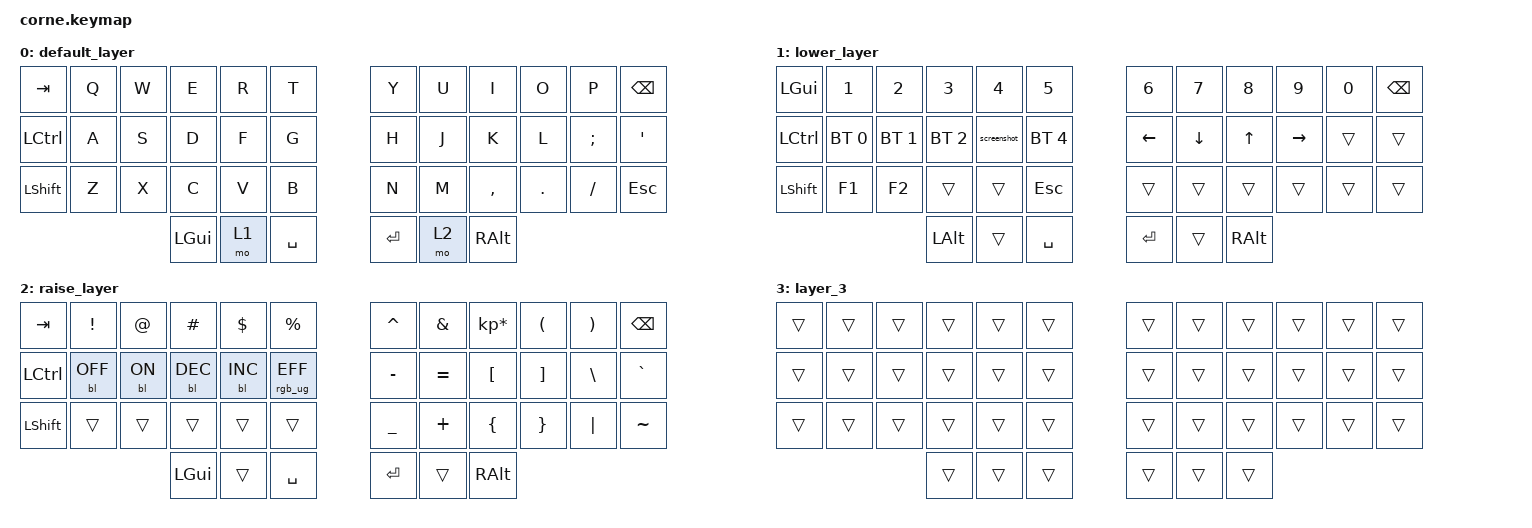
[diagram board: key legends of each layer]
/*
 * Copyright (c) 2020 The ZMK Contributors
 *
 * SPDX-License-Identifier: MIT
 */

#include <behaviors.dtsi>
#include <dt-bindings/zmk/backlight.h>
#include <dt-bindings/zmk/bt.h>
#include <dt-bindings/zmk/keys.h>
#include <dt-bindings/zmk/rgb.h>

/ {
    macros {
        screenshot: screenshot {
            compatible = "zmk,behavior-macro";
            #binding-cells = <0>;
            bindings = <&kp LS(LG(NUMBER_4))>;
            label = "SCREENSHOT";
        };
    };

    keymap {
        compatible = "zmk,keymap";

        default_layer {
            // -----------------------------------------------------------------------------------------
            // |  TAB |  Q  |  W  |  E  |  R  |  T  |   |  Y  |  U   |  I  |  O  |  P  | BKSP |
            // | CTRL |  A  |  S  |  D  |  F  |  G  |   |  H  |  J   |  K  |  L  |  ;  |  '   |
            // | SHFT |  Z  |  X  |  C  |  V  |  B  |   |  N  |  M   |  ,  |  .  |  /  | ESC  |
            //                    | GUI | LWR | SPC |   | ENT | RSE  | ALT |

            bindings = <
&kp TAB    &kp Q  &kp W  &kp E     &kp R  &kp T        &kp Y    &kp U  &kp I      &kp O    &kp P     &kp BSPC
&kp LCTRL  &kp A  &kp S  &kp D     &kp F  &kp G        &kp H    &kp J  &kp K      &kp L    &kp SEMI  &kp SQT
&kp LSHFT  &kp Z  &kp X  &kp C     &kp V  &kp B        &kp N    &kp M  &kp COMMA  &kp DOT  &kp FSLH  &kp ESC
                         &kp LGUI  &mo 1  &kp SPACE    &kp RET  &mo 2  &kp RALT
            >;
        };

        lower_layer {
            // -----------------------------------------------------------------------------------------
            // |  TAB |  1  |  2  |  3  |  4  |  5  |   |  6  |  7  |  8  |  9  |  0  | BKSP |
            // | BTCLR| BT1 | BT2 | BT3 | BT4 | BT5 |   | LFT | DWN |  UP | RGT |     |      |
            // | SHFT |     |     |     |     |     |   |     |     |     |     |     |      |
            //                    | GUI |     | SPC |   | ENT |     | ALT |

            bindings = <
&kp LGUI   &kp N1        &kp N2        &kp N3        &kp N4       &kp N5          &kp N6    &kp N7    &kp N8    &kp N9     &kp N0  &kp BSPC
&kp LCTRL  &bt BT_SEL 0  &bt BT_SEL 1  &bt BT_SEL 2  &screenshot  &bt BT_SEL 4    &kp LEFT  &kp DOWN  &kp UP    &kp RIGHT  &trans  &trans
&kp LSHFT  &kp F1        &kp F2        &trans        &trans       &kp ESC         &trans    &trans    &trans    &trans     &trans  &trans
                                       &kp LALT      &trans       &kp SPACE       &kp RET   &trans    &kp RALT
            >;
        };

        raise_layer {
            // -----------------------------------------------------------------------------------------
            // |  TAB |  !  |  @  |  #  |  $  |  %  |   |  ^  |  &  |  *  |  (  |  )  | BKSP |
            // | CTRL |     |     |     |     |     |   |  -  |  =  |  [  |  ]  |  \  |  `   |
            // | SHFT |     |     |     |     |     |   |  _  |  +  |  {  |  }  | "|" |  ~   |
            //                    | GUI |     | SPC |   | ENT |     | ALT |

            bindings = <
&kp TAB    &kp EXCL    &kp AT     &kp HASH    &kp DLLR    &kp PRCNT          &kp CARET  &kp AMPS   &kp KP_MULTIPLY  &kp LPAR  &kp RPAR  &kp BSPC
&kp LCTRL  &bl BL_OFF  &bl BL_ON  &bl BL_DEC  &bl BL_INC  &rgb_ug RGB_EFF    &kp MINUS  &kp EQUAL  &kp LBKT         &kp RBKT  &kp BSLH  &kp GRAVE
&kp LSHFT  &trans      &trans     &trans      &trans      &trans             &kp UNDER  &kp PLUS   &kp LBRC         &kp RBRC  &kp PIPE  &kp TILDE
                                  &kp LGUI    &trans      &kp SPACE          &kp RET    &trans     &kp RALT
            >;
        };

        layer_3 {
            bindings = <
&trans  &trans  &trans  &trans  &trans  &trans    &trans  &trans  &trans  &trans  &trans  &trans
&trans  &trans  &trans  &trans  &trans  &trans    &trans  &trans  &trans  &trans  &trans  &trans
&trans  &trans  &trans  &trans  &trans  &trans    &trans  &trans  &trans  &trans  &trans  &trans
                        &trans  &trans  &trans    &trans  &trans  &trans
            >;
        };
    };
};
